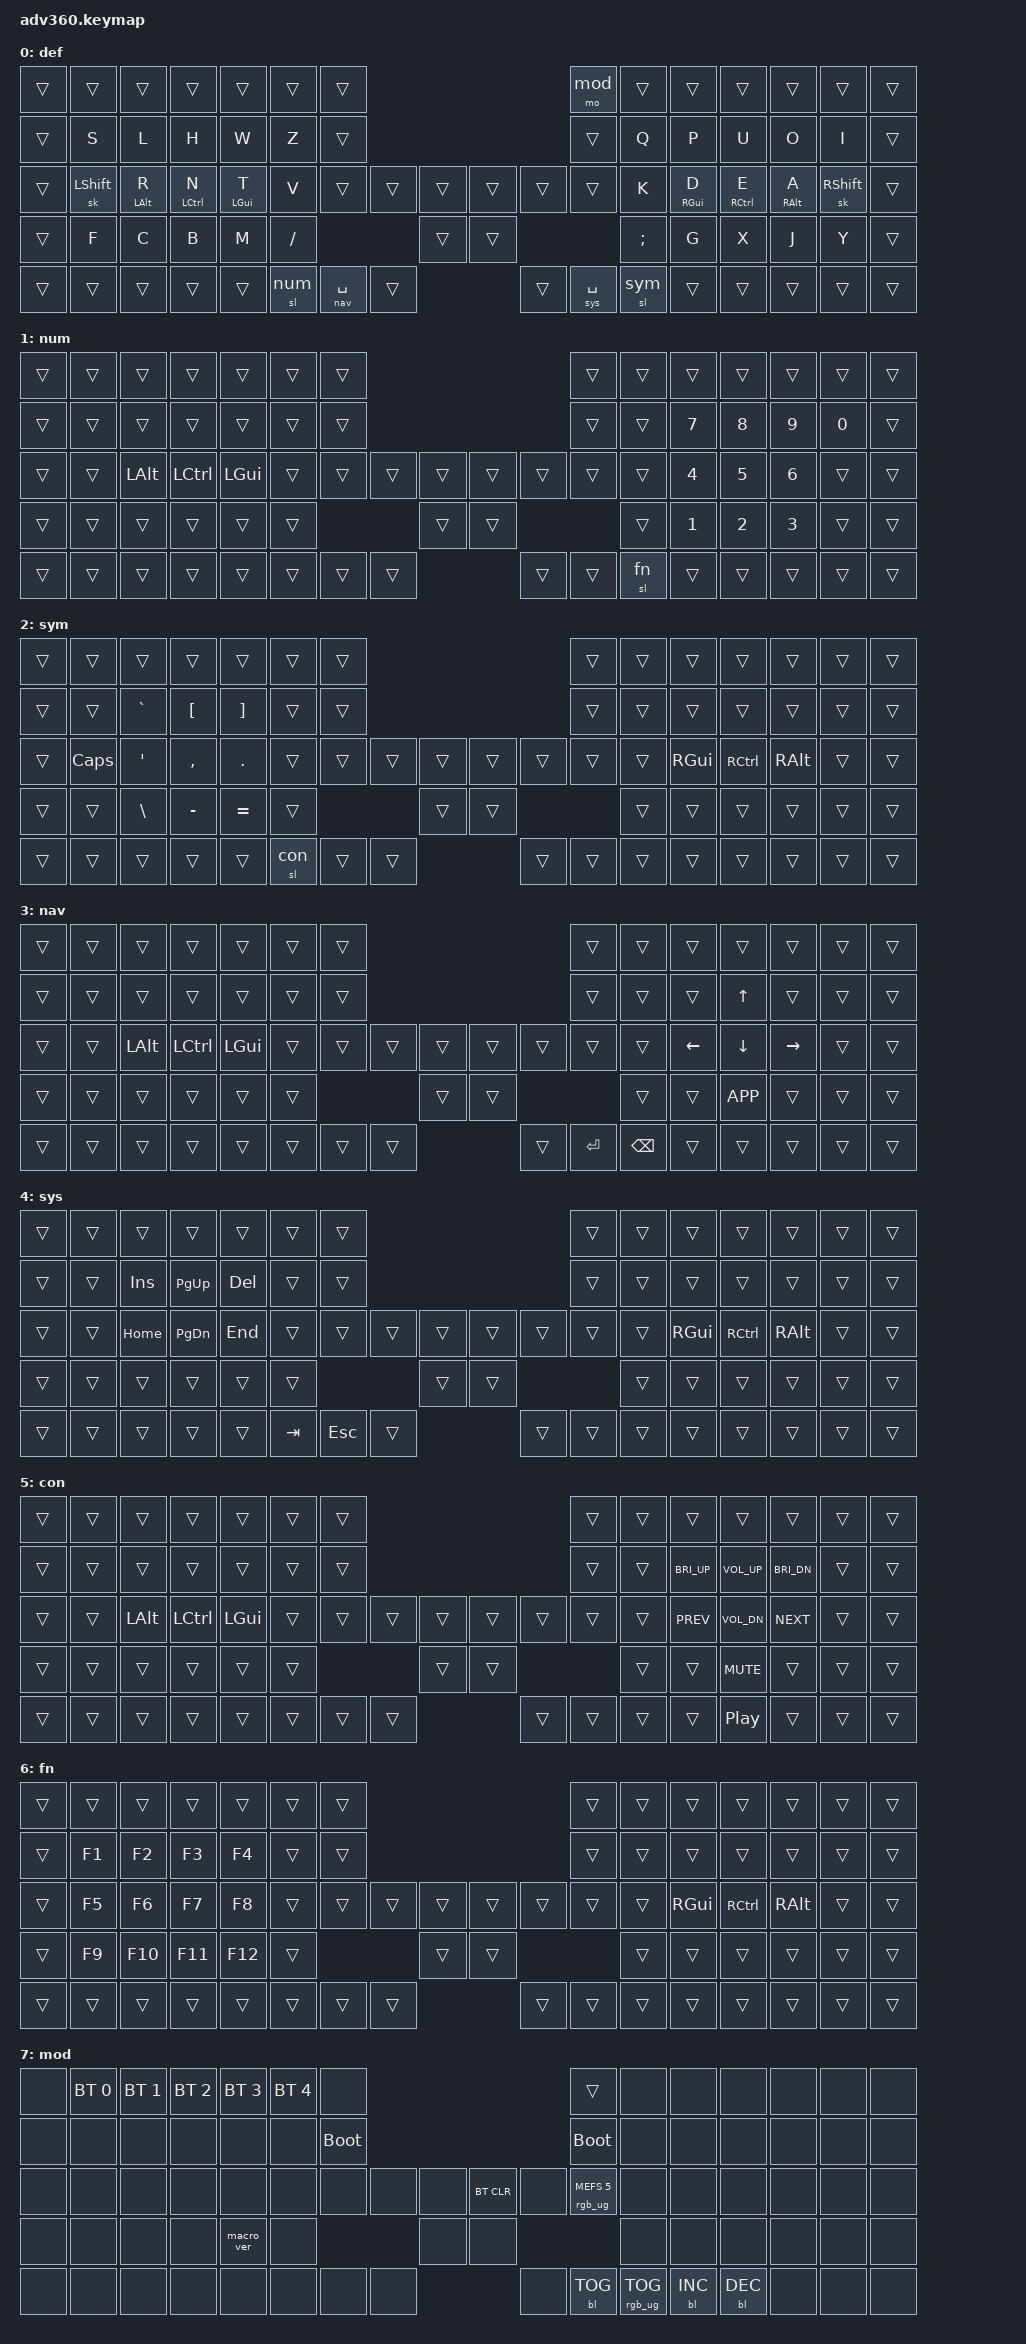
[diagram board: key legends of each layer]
#include <behaviors.dtsi>
#include <dt-bindings/zmk/keys.h>
#include <dt-bindings/zmk/bt.h>
#include <dt-bindings/zmk/rgb.h>
#include <dt-bindings/zmk/backlight.h>

#define def 0
#define num 1
#define sym 2
#define nav 3
#define sys 4
#define con 5
#define fn 6
#define mod 7

&lt {
    flavor = "balanced";
    tapping-term-ms = <1024>;
};

&mt {
    flavor = "balanced";
    tapping-term-ms = <1024>;
};

&sk {
    quick-release;
};

&sl {
    quick-release;
};

/ {
    behaviors {
      #include "macros.dtsi"
      #include "version.dtsi"
      #ifndef VERSION_MACRO
      macro_ver: macro_ver {
        compatible = "zmk,behavior-macro";
        label = "macro_version";
        #binding-cells = <0>;
        bindings = <&kp RET>;
      };
      #endif

      hm: homerow_mods {
          compatible = "zmk,behavior-hold-tap";
          label = "HOMEROW_MODS";
          #binding-cells = <2>;
          tapping-term-ms = <200>;
          quick_tap_ms = <175>;
          flavor = "tap-preferred";
          bindings = <&kp>, <&kp>;
      };
    };

  keymap {
    compatible = "zmk,keymap";

    def {
      bindings = <
        &trans &trans    &trans     &trans      &trans     &trans    &trans                                                             &mo mod &trans   &trans     &trans      &trans     &trans    &trans
        &trans &kp S     &kp L      &kp H       &kp W      &kp Z     &trans                                                             &trans  &kp Q    &kp P      &kp U       &kp O      &kp I     &trans
        &trans &sk LSHFT &mt LALT R &mt LCTRL N &mt LGUI T &kp V     &trans                  &trans &trans &trans &trans                &trans  &kp K    &mt RGUI D &mt RCTRL E &mt RALT A &sk RSHFT &trans
        &trans &kp F     &kp C      &kp B       &kp M      &kp SLASH                                &trans &trans                               &kp SEMI &kp G      &kp X       &kp J      &kp Y     &trans
        &trans &trans    &trans     &trans      &trans                       &sl num  &lt nav SPACE &trans &trans &lt sys SPACE &sl sym                  &trans     &trans      &trans     &trans    &trans
      >;
    };

    num {
      bindings = <
        &trans &trans &trans   &trans    &trans   &trans &trans                                           &trans &trans &trans &trans &trans &trans &trans
        &trans &trans &trans   &trans    &trans   &trans &trans                                           &trans &trans &kp N7 &kp N8 &kp N9 &kp N0 &trans
        &trans &trans &kp LALT &kp LCTRL &kp LGUI &trans &trans        &trans &trans &trans &trans        &trans &trans &kp N4 &kp N5 &kp N6 &trans &trans
        &trans &trans &trans   &trans    &trans   &trans                      &trans &trans                      &trans &kp N1 &kp N2 &kp N3 &trans &trans
        &trans &trans &trans   &trans    &trans                 &trans &trans &trans &trans &trans &sl fn               &trans &trans &trans &trans &trans
      >;
    };

    sym {
      bindings = <
        &trans &trans   &trans    &trans    &trans    &trans &trans                                            &trans &trans &trans   &trans    &trans   &trans &trans
        &trans &trans   &kp GRAVE &kp LBKT  &kp RBKT  &trans &trans                                            &trans &trans &trans   &trans    &trans   &trans &trans
        &trans &kp CAPS &kp SQT   &kp COMMA &kp DOT   &trans &trans        &trans  &trans &trans &trans        &trans &trans &kp RGUI &kp RCTRL &kp RALT &trans &trans
        &trans &trans   &kp BSLH  &kp MINUS &kp EQUAL &trans                       &trans &trans                      &trans &trans   &trans    &trans   &trans &trans
        &trans &trans   &trans    &trans    &trans                  &sl con &trans &trans &trans &trans &trans               &trans   &trans    &trans   &trans &trans
      >;
    };

    nav {
      bindings = <
        &trans &trans &trans   &trans    &trans   &trans &trans                                              &trans &trans &trans   &trans    &trans    &trans &trans
        &trans &trans &trans   &trans    &trans   &trans &trans                                              &trans &trans &trans   &kp UP    &trans    &trans &trans
        &trans &trans &kp LALT &kp LCTRL &kp LGUI &trans &trans        &trans &trans &trans &trans           &trans &trans &kp LEFT &kp DOWN  &kp RIGHT &trans &trans
        &trans &trans &trans   &trans    &trans   &trans                      &trans &trans                         &trans &trans   &kp K_APP &trans    &trans &trans
        &trans &trans &trans   &trans    &trans                 &trans &trans &trans &trans &kp RET &kp BSPC               &trans   &trans    &trans    &trans &trans
      >;
    };

    sys {
      bindings = <
        &trans &trans &trans   &trans    &trans  &trans &trans                                             &trans &trans &trans   &trans    &trans   &trans &trans
        &trans &trans &kp INS  &kp PG_UP &kp DEL &trans &trans                                             &trans &trans &trans   &trans    &trans   &trans &trans
        &trans &trans &kp HOME &kp PG_DN &kp END &trans &trans          &trans &trans &trans &trans        &trans &trans &kp RGUI &kp RCTRL &kp RALT &trans &trans
        &trans &trans &trans   &trans    &trans  &trans                        &trans &trans                      &trans &trans   &trans    &trans   &trans &trans
        &trans &trans &trans   &trans    &trans                &kp TAB &kp ESC &trans &trans &trans &trans               &trans   &trans    &trans   &trans &trans
      >;
    };

    con {
      bindings = <
        &trans &trans &trans   &trans    &trans   &trans &trans                                           &trans &trans &trans       &trans           &trans       &trans &trans
        &trans &trans &trans   &trans    &trans   &trans &trans                                           &trans &trans &kp C_BRI_UP &kp C_VOL_UP     &kp C_BRI_DN &trans &trans
        &trans &trans &kp LALT &kp LCTRL &kp LGUI &trans &trans        &trans &trans &trans &trans        &trans &trans &kp C_PREV   &kp C_VOL_DN     &kp C_NEXT   &trans &trans
        &trans &trans &trans   &trans    &trans   &trans                      &trans &trans                      &trans &trans       &kp C_MUTE       &trans       &trans &trans
        &trans &trans &trans   &trans    &trans                 &trans &trans &trans &trans &trans &trans               &trans       &kp C_PLAY_PAUSE &trans       &trans &trans
      >;
    };

    fn {
      bindings = <
        &trans &trans &trans  &trans  &trans  &trans &trans                                           &trans &trans &trans   &trans    &trans   &trans &trans
        &trans &kp F1 &kp F2  &kp F3  &kp F4  &trans &trans                                           &trans &trans &trans   &trans    &trans   &trans &trans
        &trans &kp F5 &kp F6  &kp F7  &kp F8  &trans &trans        &trans &trans &trans &trans        &trans &trans &kp RGUI &kp RCTRL &kp RALT &trans &trans
        &trans &kp F9 &kp F10 &kp F11 &kp F12 &trans                      &trans &trans                      &trans &trans   &trans    &trans   &trans &trans
        &trans &trans &trans  &trans  &trans                &trans &trans &trans &trans &trans &trans               &trans   &trans    &trans   &trans &trans
      >;
    };

    // default_layer {
    //   bindings = <
    //     &kp EQUAL &kp N1    &kp N2   &kp N3   &kp N4     &kp N5 &tog 1                                                           &mo 3 &kp N6 &kp N7 &kp N8    &kp N9   &kp N0   &kp MINUS
    //     &kp TAB   &kp Q     &kp W    &kp E    &kp R      &kp T  &none                                                            &none &kp Y  &kp U  &kp I     &kp O    &kp P    &kp BSLH
    //     &kp ESC   &kp A     &kp S    &kp D    &kp F      &kp G  &none           &kp LCTRL &kp LALT &kp LGUI  &kp RCTRL           &none &kp H  &kp J  &kp K     &kp L    &kp SEMI &kp SQT
    //     &kp LSHFT &kp Z     &kp X    &kp C    &kp V      &kp B                            &kp HOME &kp PG_UP                           &kp N  &kp M  &kp COMMA &kp DOT  &kp FSLH &kp RSHFT
    //     &mo 2     &kp GRAVE &kp CAPS &kp LEFT &kp RIGHT                &kp BSPC &kp DEL   &kp END  &kp PG_DN &kp ENTER &kp SPACE              &kp UP &kp DOWN  &kp LBKT &kp RBKT &mo 2
    //   >;
    // };
    // keypad {
    //   bindings = <
    //     &kp EQUAL &kp N1    &kp N2   &kp N3   &kp N4     &kp N5 &trans                                                           &mo 3 &kp N6 &kp KP_NUM &kp KP_EQUAL &kp KP_DIVIDE &kp KP_MULTIPLY &kp MINUS
    //     &kp TAB   &kp Q     &kp W    &kp E    &kp R      &kp T  &none                                                            &none &kp Y  &kp KP_N7  &kp KP_N8    &kp KP_N9     &kp KP_MINUS    &kp BSLH
    //     &kp ESC   &kp A     &kp S    &kp D    &kp F      &kp G  &none           &kp LCTRL &kp LALT &kp LGUI  &kp RCTRL           &none &kp H  &kp KP_N4  &kp KP_N5    &kp KP_N6     &kp KP_PLUS     &kp SQT
    //     &kp LSHFT &kp Z     &kp X    &kp C    &kp V      &kp B                            &kp HOME &kp PG_UP                           &kp N  &kp KP_N1  &kp KP_N2    &kp KP_N3     &kp KP_ENTER    &kp RSHFT
    //     &mo 2     &kp GRAVE &kp CAPS &kp LEFT &kp RIGHT                &kp BSPC &kp DEL   &kp END  &kp PG_DN &kp ENTER &kp KP_N0              &kp UP     &kp DOWN     &kp KP_DOT    &kp RBKT        &mo 2
    //   >;
    // };
    // fn {
    //   bindings = <
    //     &kp F1 &kp F2 &kp F3 &kp F4 &kp F5 &kp F6 &tog 1                                           &mo 3 &kp F7 &kp F8 &kp F9 &kp F10 &kp F11 &kp F12
    //     &trans &trans &trans &trans &trans &trans  &none                                           &none &trans &trans &trans &trans  &trans  &trans
    //     &trans &trans &trans &trans &trans &trans  &none        &trans &trans &trans &trans        &none &trans &trans &trans &trans  &trans  &trans
    //     &trans &trans &trans &trans &trans &trans                      &trans &trans                     &trans &trans &trans &trans  &trans  &trans
    //     &trans &trans &trans &trans &trans               &trans &trans &trans &trans &trans &trans              &trans &trans &trans  &trans  &trans
    //   >;
    // };
    mod {
      bindings = <
        &none &bt BT_SEL 0 &bt BT_SEL 1 &bt BT_SEL 2 &bt BT_SEL 3 &bt BT_SEL 4 &none                                                                     &trans                 &none        &none        &none        &none &none &none
        &none &none        &none        &none        &none        &none        &bootloader                                                               &bootloader            &none        &none        &none        &none &none &none
        &none &none        &none        &none        &none        &none        &none                   &none &none &bt BT_CLR &none                      &rgb_ug RGB_MEFS_CMD 5 &none        &none        &none        &none &none &none
        &none &none        &none        &none        &macro_ver   &none                                      &none &none                                                        &none        &none        &none        &none &none &none
        &none &none        &none        &none        &none                                       &none &none &none &none      &bl BL_TOG &rgb_ug RGB_TOG                                     &bl BL_INC   &bl BL_DEC   &none &none &none
      >;
    };
  };

};
